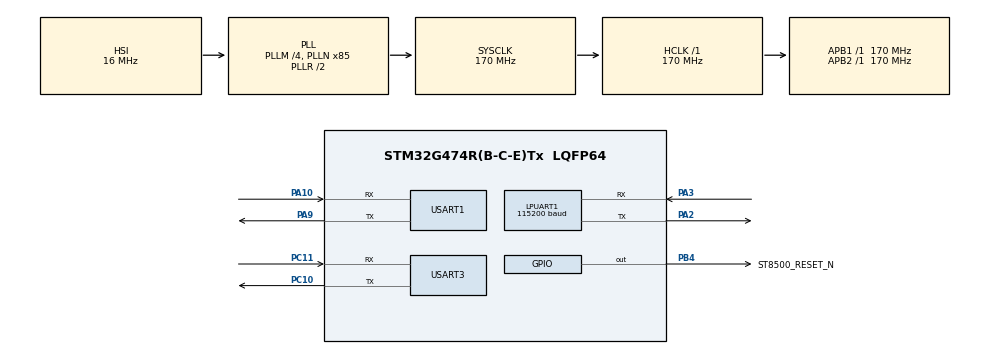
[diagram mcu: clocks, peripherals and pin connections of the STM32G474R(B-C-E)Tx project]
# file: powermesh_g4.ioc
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Dma.LPUART1_RX.4.Direction=DMA_PERIPH_TO_MEMORY
Dma.LPUART1_RX.4.EventEnable=DISABLE
Dma.LPUART1_RX.4.Instance=DMA1_Channel5
Dma.LPUART1_RX.4.MemDataAlignment=DMA_MDATAALIGN_BYTE
Dma.LPUART1_RX.4.MemInc=DMA_MINC_ENABLE
Dma.LPUART1_RX.4.Mode=DMA_CIRCULAR
Dma.LPUART1_RX.4.PeriphDataAlignment=DMA_PDATAALIGN_BYTE
Dma.LPUART1_RX.4.PeriphInc=DMA_PINC_DISABLE
Dma.LPUART1_RX.4.Polarity=HAL_DMAMUX_REQ_GEN_RISING
Dma.LPUART1_RX.4.Priority=DMA_PRIORITY_HIGH
Dma.LPUART1_RX.4.RequestNumber=1
Dma.LPUART1_RX.4.SignalID=NONE
Dma.LPUART1_RX.4.SyncEnable=DISABLE
Dma.LPUART1_RX.4.SyncPolarity=HAL_DMAMUX_SYNC_NO_EVENT
Dma.LPUART1_RX.4.SyncRequestNumber=1
Dma.LPUART1_RX.4.SyncSignalID=NONE
Dma.LPUART1_TX.5.Direction=DMA_MEMORY_TO_PERIPH
Dma.LPUART1_TX.5.EventEnable=DISABLE
Dma.LPUART1_TX.5.Instance=DMA1_Channel6
Dma.LPUART1_TX.5.MemDataAlignment=DMA_MDATAALIGN_BYTE
Dma.LPUART1_TX.5.MemInc=DMA_MINC_ENABLE
Dma.LPUART1_TX.5.Mode=DMA_NORMAL
Dma.LPUART1_TX.5.PeriphDataAlignment=DMA_PDATAALIGN_BYTE
Dma.LPUART1_TX.5.PeriphInc=DMA_PINC_DISABLE
Dma.LPUART1_TX.5.Polarity=HAL_DMAMUX_REQ_GEN_RISING
Dma.LPUART1_TX.5.Priority=DMA_PRIORITY_MEDIUM
Dma.LPUART1_TX.5.RequestNumber=1
Dma.LPUART1_TX.5.SignalID=NONE
Dma.LPUART1_TX.5.SyncEnable=DISABLE
Dma.LPUART1_TX.5.SyncPolarity=HAL_DMAMUX_SYNC_NO_EVENT
Dma.LPUART1_TX.5.SyncRequestNumber=1
Dma.LPUART1_TX.5.SyncSignalID=NONE
Dma.Request0=USART1_RX
Dma.Request1=USART1_TX
Dma.Request2=USART3_RX
Dma.Request3=USART3_TX
Dma.Request4=LPUART1_RX
Dma.Request5=LPUART1_TX
Dma.USART1_RX.0.Direction=DMA_PERIPH_TO_MEMORY
Dma.USART1_RX.0.EventEnable=DISABLE
Dma.USART1_RX.0.Instance=DMA1_Channel1
Dma.USART1_RX.0.MemDataAlignment=DMA_MDATAALIGN_BYTE
Dma.USART1_RX.0.MemInc=DMA_MINC_ENABLE
Dma.USART1_RX.0.Mode=DMA_CIRCULAR
Dma.USART1_RX.0.PeriphDataAlignment=DMA_PDATAALIGN_BYTE
Dma.USART1_RX.0.PeriphInc=DMA_PINC_DISABLE
Dma.USART1_RX.0.Polarity=HAL_DMAMUX_REQ_GEN_RISING
Dma.USART1_RX.0.Priority=DMA_PRIORITY_HIGH
Dma.USART1_RX.0.RequestNumber=1
Dma.USART1_RX.0.SignalID=NONE
Dma.USART1_RX.0.SyncEnable=DISABLE
Dma.USART1_RX.0.SyncPolarity=HAL_DMAMUX_SYNC_NO_EVENT
Dma.USART1_RX.0.SyncRequestNumber=1
Dma.USART1_RX.0.SyncSignalID=NONE
Dma.USART1_TX.1.Direction=DMA_MEMORY_TO_PERIPH
Dma.USART1_TX.1.EventEnable=DISABLE
Dma.USART1_TX.1.Instance=DMA1_Channel2
Dma.USART1_TX.1.MemDataAlignment=DMA_MDATAALIGN_BYTE
Dma.USART1_TX.1.MemInc=DMA_MINC_ENABLE
Dma.USART1_TX.1.Mode=DMA_NORMAL
Dma.USART1_TX.1.PeriphDataAlignment=DMA_PDATAALIGN_BYTE
Dma.USART1_TX.1.PeriphInc=DMA_PINC_DISABLE
Dma.USART1_TX.1.Polarity=HAL_DMAMUX_REQ_GEN_RISING
Dma.USART1_TX.1.Priority=DMA_PRIORITY_MEDIUM
Dma.USART1_TX.1.RequestNumber=1
Dma.USART1_TX.1.SignalID=NONE
Dma.USART1_TX.1.SyncEnable=DISABLE
Dma.USART1_TX.1.SyncPolarity=HAL_DMAMUX_SYNC_NO_EVENT
Dma.USART1_TX.1.SyncRequestNumber=1
Dma.USART1_TX.1.SyncSignalID=NONE
Dma.USART3_RX.2.Direction=DMA_PERIPH_TO_MEMORY
Dma.USART3_RX.2.EventEnable=DISABLE
Dma.USART3_RX.2.Instance=DMA1_Channel3
Dma.USART3_RX.2.MemDataAlignment=DMA_MDATAALIGN_BYTE
Dma.USART3_RX.2.MemInc=DMA_MINC_ENABLE
Dma.USART3_RX.2.Mode=DMA_CIRCULAR
Dma.USART3_RX.2.PeriphDataAlignment=DMA_PDATAALIGN_BYTE
Dma.USART3_RX.2.PeriphInc=DMA_PINC_DISABLE
Dma.USART3_RX.2.Polarity=HAL_DMAMUX_REQ_GEN_RISING
Dma.USART3_RX.2.Priority=DMA_PRIORITY_HIGH
Dma.USART3_RX.2.RequestNumber=1
Dma.USART3_RX.2.SignalID=NONE
Dma.USART3_RX.2.SyncEnable=DISABLE
Dma.USART3_RX.2.SyncPolarity=HAL_DMAMUX_SYNC_NO_EVENT
Dma.USART3_RX.2.SyncRequestNumber=1
Dma.USART3_RX.2.SyncSignalID=NONE
Dma.USART3_TX.3.Direction=DMA_MEMORY_TO_PERIPH
Dma.USART3_TX.3.EventEnable=DISABLE
Dma.USART3_TX.3.Instance=DMA1_Channel4
Dma.USART3_TX.3.MemDataAlignment=DMA_MDATAALIGN_BYTE
Dma.USART3_TX.3.MemInc=DMA_MINC_ENABLE
Dma.USART3_TX.3.Mode=DMA_NORMAL
Dma.USART3_TX.3.PeriphDataAlignment=DMA_PDATAALIGN_BYTE
Dma.USART3_TX.3.PeriphInc=DMA_PINC_DISABLE
Dma.USART3_TX.3.Polarity=HAL_DMAMUX_REQ_GEN_RISING
Dma.USART3_TX.3.Priority=DMA_PRIORITY_MEDIUM
Dma.USART3_TX.3.RequestNumber=1
Dma.USART3_TX.3.SignalID=NONE
Dma.USART3_TX.3.SyncEnable=DISABLE
Dma.USART3_TX.3.SyncPolarity=HAL_DMAMUX_SYNC_NO_EVENT
Dma.USART3_TX.3.SyncRequestNumber=1
Dma.USART3_TX.3.SyncSignalID=NONE
LPUART1.BaudRate=115200
Mcu.Family=STM32G4
Mcu.Name=STM32G474R(B-C-E)Tx
Mcu.Package=LQFP64
NUCLEO-G474RE.BUTTON=1
NUCLEO-G474RE.LD2=true
NUCLEO-G474RE.VCP=false
NVIC.DMA1_Channel1_IRQn=true\:5\:0\:true\:false\:true\:false\:true\:true
NVIC.DMA1_Channel2_IRQn=true\:5\:0\:true\:false\:true\:false\:true\:true
NVIC.DMA1_Channel3_IRQn=true\:5\:0\:true\:false\:true\:false\:true\:true
NVIC.DMA1_Channel4_IRQn=true\:5\:0\:true\:false\:true\:false\:true\:true
NVIC.DMA1_Channel5_IRQn=true\:5\:0\:true\:false\:true\:false\:true\:true
NVIC.DMA1_Channel6_IRQn=true\:5\:0\:true\:false\:true\:false\:true\:true
NVIC.EXTI15_10_IRQn=true\:0\:0\:false\:false\:true\:false\:true\:true
NVIC.LPUART1_IRQn=true\:5\:0\:true\:false\:true\:true\:true\:true
NVIC.PriorityGroup=NVIC_PRIORITYGROUP_4
NVIC.USART1_IRQn=true\:5\:0\:true\:false\:true\:true\:true\:true
NVIC.USART3_IRQn=true\:5\:0\:true\:false\:true\:true\:true\:true
PA10.Mode=Asynchronous
PA10.Signal=USART1_RX
PA13.GPIO_Label=T_SWDIO
PA13.Mode=Serial_Wire
PA13.Signal=SYS_JTMS-SWDIO
PA14.GPIO_Label=T_SWCLK
PA14.Mode=Serial_Wire
PA14.Signal=SYS_JTCK-SWCLK
PA2.Mode=Asynchronous
PA2.Signal=LPUART1_TX
PA3.Mode=Asynchronous
PA3.Signal=LPUART1_RX
PA9.Mode=Asynchronous
PA9.Signal=USART1_TX
PB3.GPIO_Label=T_SWO
PB3.Signal=SYS_JTDO-SWO
PB4.GPIO_Label=ST8500_RESET_N
PB4.GPIO_ModeDefaultOutputPP=GPIO_MODE_OUTPUT_OD
PB4.GPIO_PuPd=GPIO_NOPULL
PB4.PinState=GPIO_PIN_SET
PB4.Signal=GPIO_Output
PC10.Mode=Asynchronous
PC10.Signal=USART3_TX
PC11.Mode=Asynchronous
PC11.Signal=USART3_RX
PC14-OSC32_IN.GPIO_Label=RCC_OSC32_IN
PC14-OSC32_IN.Signal=RCC_OSC32_IN
PC15-OSC32_OUT.GPIO_Label=RCC_OSC32_OUT
PC15-OSC32_OUT.Signal=RCC_OSC32_OUT
PF0-OSC_IN.GPIO_Label=RCC_OSC_IN
PF0-OSC_IN.Signal=RCC_OSC_IN
PF1-OSC_OUT.GPIO_Label=RCC_OSC_OUT
PF1-OSC_OUT.Signal=RCC_OSC_OUT
ProjectManager.HeapSize=0x200
ProjectManager.StackSize=0x400
ProjectManager.TargetToolchain=CMake
RCC.ADC12Freq_Value=170000000
RCC.ADC345Freq_Value=170000000
RCC.AHBFreq_Value=170000000
RCC.APB1Freq_Value=170000000
RCC.APB1TimFreq_Value=170000000
RCC.APB2Freq_Value=170000000
RCC.APB2TimFreq_Value=170000000
RCC.CortexFreq_Value=170000000
RCC.EXTERNAL_CLOCK_VALUE=12288000
RCC.HCLKFreq_Value=170000000
RCC.HSE_VALUE=24000000
RCC.HSI48_VALUE=48000000
RCC.HSI_VALUE=16000000
RCC.LSE_VALUE=32768
RCC.PLLM=RCC_PLLM_DIV4
RCC.PLLN=85
RCC.RTCClockSelection=RCC_RTCCLKSOURCE_LSE
RCC.SYSCLKFreq_VALUE=170000000
RCC.SYSCLKSource=RCC_SYSCLKSOURCE_PLLCLK
RCC.USBFreq_Value=170000000
RCC.VCOOutputFreq_Value=340000000
USART1.VirtualMode-Asynchronous=VM_ASYNC
USART3.VirtualMode-Asynchronous=VM_ASYNC
VP_NUCLEO-G474RE_VS_BSP_COMMON.Mode=COMMON
VP_SYS_VS_DBSignals.Mode=DisableDeadBatterySignals
board=NUCLEO-G474RE

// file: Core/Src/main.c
/* USER CODE BEGIN Header */
/**
  ******************************************************************************
  * @file           : main.c
  * @brief          : Main program body
  ******************************************************************************
  * @attention
  *
  * Copyright (c) 2026 STMicroelectronics.
  * All rights reserved.
  *
  * This software is licensed under terms that can be found in the LICENSE file
  * in the root directory of this software component.
  * If no LICENSE file comes with this software, it is provided AS-IS.
  *
  ******************************************************************************
  */
/* USER CODE END Header */
#include "main.h"

/* USER CODE BEGIN Includes */
#include "powermesh_board.h"
#include "uart_transport.h"
#include "packet_router.h"
#if defined(POWERMESH_TRANSPORT_ST8500)
#include "st8500_boot.h"
#endif
/* USER CODE END Includes */

UART_HandleTypeDef hlpuart1;
UART_HandleTypeDef huart1;
UART_HandleTypeDef huart3;
DMA_HandleTypeDef hdma_lpuart1_rx;
DMA_HandleTypeDef hdma_lpuart1_tx;
DMA_HandleTypeDef hdma_usart1_rx;
DMA_HandleTypeDef hdma_usart1_tx;
DMA_HandleTypeDef hdma_usart3_rx;
DMA_HandleTypeDef hdma_usart3_tx;

/* USER CODE BEGIN PV */
#if defined(POWERMESH_TRANSPORT_WIRED)
static uart_transport_t gateway_transport;
static uart_transport_t remote_transport;
static packet_router_t router;

static packet_port_t gateway_port = PACKET_PORT_GATEWAY;
static packet_port_t remote_port = PACKET_PORT_REMOTE;
#endif

static uint32_t last_blink_ms = 0U;
/* USER CODE END PV */

void SystemClock_Config(void);
static void MX_GPIO_Init(void);
static void MX_DMA_Init(void);
static void MX_USART1_UART_Init(void);
static void MX_USART3_UART_Init(void);
static void MX_LPUART1_UART_Init(void);

/* USER CODE BEGIN 0 */

#if defined(POWERMESH_TRANSPORT_WIRED)
// Adapt the shared router interface to the G4 HAL UART transport.
static bool send_uart_frame(
    void *context,
    uint8_t type,
    uint16_t sequence,
    const uint8_t *payload,
    uint16_t length
)
{
    uart_transport_t *transport = (uart_transport_t *)context;

    return uart_transport_send(
        transport,
        type,
        sequence,
        payload,
        length
    ) == HAL_OK;
}

// Receive complete, CRC-validated frames from either UART.
static void on_uart_frame(const uart_frame_t *frame, void *context)
{
    if (frame == NULL || context == NULL)
    {
        return;
    }

    packet_port_t source = *(packet_port_t *)context;

    (void)packet_router_receive(
        &router,
        source,
        frame
    );
}
#endif
/* USER CODE END 0 */

int main(void)
{

  /* MCU Configuration--------------------------------------------------------*/

  /* Reset of all peripherals, Initializes the Flash interface and the Systick. */
  HAL_Init();

  /* Configure the system clock */
  SystemClock_Config();

  /* Initialize all configured peripherals */
  MX_GPIO_Init();
  MX_DMA_Init();
  MX_USART1_UART_Init();
  MX_USART3_UART_Init();
  MX_LPUART1_UART_Init();
  /* USER CODE BEGIN 2 */

#if defined(POWERMESH_TRANSPORT_WIRED)
  if (POWERMESH_GATEWAY_UART->hdmarx == NULL ||
      POWERMESH_GATEWAY_UART->hdmatx == NULL ||
      POWERMESH_REMOTE_UART->hdmarx == NULL ||
      POWERMESH_REMOTE_UART->hdmatx == NULL)
  {
      Error_Handler();
  }

  if (!packet_router_init(
          &router,
          send_uart_frame,
          &gateway_transport,
          send_uart_frame,
          &remote_transport))
  {
      Error_Handler();
  }

  if (uart_transport_start(
          &gateway_transport,
          POWERMESH_GATEWAY_UART,
          on_uart_frame,
          &gateway_port) != HAL_OK)
  {
      Error_Handler();
  }

  if (uart_transport_start(
          &remote_transport,
          POWERMESH_REMOTE_UART,
          on_uart_frame,
          &remote_port) != HAL_OK)
  {
      Error_Handler();
  }

#if defined(POWERMESH_ROLE_ENDPOINT)
  static uint8_t boot_message[] = "PowerMesh G4 ready\r\n";

  (void)HAL_UART_Transmit(
      POWERMESH_DEBUG_UART,
      boot_message,
      sizeof(boot_message) - 1U,
      100U
  );
#endif
#endif

  /* USER CODE END 2 */

  /* Initialize led */
  BSP_LED_Init(LED_GREEN);

  /* Initialize USER push-button, will be used to trigger an interrupt each time it's pressed.*/
  BSP_PB_Init(BUTTON_USER, BUTTON_MODE_EXTI);

  /* Infinite loop */
  /* USER CODE BEGIN WHILE */

#if defined(POWERMESH_TRANSPORT_ST8500)
  if (!st8500_boot_load(POWERMESH_LINK_UART))
  {
      while (1)
      {
          (void)BSP_LED_Toggle(LED_GREEN);
          HAL_Delay(150U);
      }
  }
#endif

  while (1)
  {

    /* USER CODE END WHILE */

    /* USER CODE BEGIN 3 */

#if defined(POWERMESH_TRANSPORT_WIRED)
    uart_transport_poll(&gateway_transport);
    uart_transport_poll(&remote_transport);

    packet_router_poll(&router);
#endif

    // Toggle the status LED every 500 ms.
    uint32_t now = HAL_GetTick();

    if ((uint32_t)(now - last_blink_ms) >= 500U)
    {
        last_blink_ms = now;
        (void)BSP_LED_Toggle(LED_GREEN);
    }
  }
  /* USER CODE END 3 */
}

void SystemClock_Config(void)
{
  RCC_OscInitTypeDef RCC_OscInitStruct = {0};
  RCC_ClkInitTypeDef RCC_ClkInitStruct = {0};

  /** Configure the main internal regulator output voltage
  */
  HAL_PWREx_ControlVoltageScaling(PWR_REGULATOR_VOLTAGE_SCALE1_BOOST);

  /** Initializes the RCC Oscillators according to the specified parameters
  * in the RCC_OscInitTypeDef structure.
  */
  RCC_OscInitStruct.OscillatorType = RCC_OSCILLATORTYPE_HSI;
  RCC_OscInitStruct.HSIState = RCC_HSI_ON;
  RCC_OscInitStruct.HSICalibrationValue = RCC_HSICALIBRATION_DEFAULT;
  RCC_OscInitStruct.PLL.PLLState = RCC_PLL_ON;
  RCC_OscInitStruct.PLL.PLLSource = RCC_PLLSOURCE_HSI;
  RCC_OscInitStruct.PLL.PLLM = RCC_PLLM_DIV4;
  RCC_OscInitStruct.PLL.PLLN = 85;
  RCC_OscInitStruct.PLL.PLLP = RCC_PLLP_DIV2;
  RCC_OscInitStruct.PLL.PLLQ = RCC_PLLQ_DIV2;
  RCC_OscInitStruct.PLL.PLLR = RCC_PLLR_DIV2;
  if (HAL_RCC_OscConfig(&RCC_OscInitStruct) != HAL_OK)
  {
    Error_Handler();
  }

  /** Initializes the CPU, AHB and APB buses clocks
  */
  RCC_ClkInitStruct.ClockType = RCC_CLOCKTYPE_HCLK|RCC_CLOCKTYPE_SYSCLK
                              |RCC_CLOCKTYPE_PCLK1|RCC_CLOCKTYPE_PCLK2;
  RCC_ClkInitStruct.SYSCLKSource = RCC_SYSCLKSOURCE_PLLCLK;
  RCC_ClkInitStruct.AHBCLKDivider = RCC_SYSCLK_DIV1;
  RCC_ClkInitStruct.APB1CLKDivider = RCC_HCLK_DIV1;
  RCC_ClkInitStruct.APB2CLKDivider = RCC_HCLK_DIV1;

  if (HAL_RCC_ClockConfig(&RCC_ClkInitStruct, FLASH_LATENCY_4) != HAL_OK)
  {
    Error_Handler();
  }
}

static void MX_LPUART1_UART_Init(void)
{

  hlpuart1.Instance = LPUART1;
  hlpuart1.Init.BaudRate = 115200;
  hlpuart1.Init.WordLength = UART_WORDLENGTH_8B;
  hlpuart1.Init.StopBits = UART_STOPBITS_1;
  hlpuart1.Init.Parity = UART_PARITY_NONE;
  hlpuart1.Init.Mode = UART_MODE_TX_RX;
  hlpuart1.Init.HwFlowCtl = UART_HWCONTROL_NONE;
  hlpuart1.Init.OneBitSampling = UART_ONE_BIT_SAMPLE_DISABLE;
  hlpuart1.Init.ClockPrescaler = UART_PRESCALER_DIV1;
  hlpuart1.AdvancedInit.AdvFeatureInit = UART_ADVFEATURE_NO_INIT;
  if (HAL_UART_Init(&hlpuart1) != HAL_OK)
  {
    Error_Handler();
  }
  if (HAL_UARTEx_SetTxFifoThreshold(&hlpuart1, UART_TXFIFO_THRESHOLD_1_8) != HAL_OK)
  {
    Error_Handler();
  }
  if (HAL_UARTEx_SetRxFifoThreshold(&hlpuart1, UART_RXFIFO_THRESHOLD_1_8) != HAL_OK)
  {
    Error_Handler();
  }
  if (HAL_UARTEx_DisableFifoMode(&hlpuart1) != HAL_OK)
  {
    Error_Handler();
  }

}

static void MX_USART1_UART_Init(void)
{

  huart1.Instance = USART1;
  huart1.Init.BaudRate = 115200;
  huart1.Init.WordLength = UART_WORDLENGTH_8B;
  huart1.Init.StopBits = UART_STOPBITS_1;
  huart1.Init.Parity = UART_PARITY_NONE;
  huart1.Init.Mode = UART_MODE_TX_RX;
  huart1.Init.HwFlowCtl = UART_HWCONTROL_NONE;
  huart1.Init.OverSampling = UART_OVERSAMPLING_16;
  huart1.Init.OneBitSampling = UART_ONE_BIT_SAMPLE_DISABLE;
  huart1.Init.ClockPrescaler = UART_PRESCALER_DIV1;
  huart1.AdvancedInit.AdvFeatureInit = UART_ADVFEATURE_NO_INIT;
  if (HAL_UART_Init(&huart1) != HAL_OK)
  {
    Error_Handler();
  }
  if (HAL_UARTEx_SetTxFifoThreshold(&huart1, UART_TXFIFO_THRESHOLD_1_8) != HAL_OK)
  {
    Error_Handler();
  }
  if (HAL_UARTEx_SetRxFifoThreshold(&huart1, UART_RXFIFO_THRESHOLD_1_8) != HAL_OK)
  {
    Error_Handler();
  }
  if (HAL_UARTEx_DisableFifoMode(&huart1) != HAL_OK)
  {
    Error_Handler();
  }

}

static void MX_USART3_UART_Init(void)
{

  huart3.Instance = USART3;
  huart3.Init.BaudRate = 115200;
  huart3.Init.WordLength = UART_WORDLENGTH_8B;
  huart3.Init.StopBits = UART_STOPBITS_1;
  huart3.Init.Parity = UART_PARITY_NONE;
  huart3.Init.Mode = UART_MODE_TX_RX;
  huart3.Init.HwFlowCtl = UART_HWCONTROL_NONE;
  huart3.Init.OverSampling = UART_OVERSAMPLING_16;
  huart3.Init.OneBitSampling = UART_ONE_BIT_SAMPLE_DISABLE;
  huart3.Init.ClockPrescaler = UART_PRESCALER_DIV1;
  huart3.AdvancedInit.AdvFeatureInit = UART_ADVFEATURE_NO_INIT;
  if (HAL_UART_Init(&huart3) != HAL_OK)
  {
    Error_Handler();
  }
  if (HAL_UARTEx_SetTxFifoThreshold(&huart3, UART_TXFIFO_THRESHOLD_1_8) != HAL_OK)
  {
    Error_Handler();
  }
  if (HAL_UARTEx_SetRxFifoThreshold(&huart3, UART_RXFIFO_THRESHOLD_1_8) != HAL_OK)
  {
    Error_Handler();
  }
  if (HAL_UARTEx_DisableFifoMode(&huart3) != HAL_OK)
  {
    Error_Handler();
  }

}

static void MX_DMA_Init(void)
{

  /* DMA controller clock enable */
  __HAL_RCC_DMAMUX1_CLK_ENABLE();
  __HAL_RCC_DMA1_CLK_ENABLE();

  /* DMA interrupt init */
  /* DMA1_Channel1_IRQn interrupt configuration */
  HAL_NVIC_SetPriority(DMA1_Channel1_IRQn, 5, 0);
  HAL_NVIC_EnableIRQ(DMA1_Channel1_IRQn);
  /* DMA1_Channel2_IRQn interrupt configuration */
  HAL_NVIC_SetPriority(DMA1_Channel2_IRQn, 5, 0);
  HAL_NVIC_EnableIRQ(DMA1_Channel2_IRQn);
  /* DMA1_Channel3_IRQn interrupt configuration */
  HAL_NVIC_SetPriority(DMA1_Channel3_IRQn, 5, 0);
  HAL_NVIC_EnableIRQ(DMA1_Channel3_IRQn);
  /* DMA1_Channel4_IRQn interrupt configuration */
  HAL_NVIC_SetPriority(DMA1_Channel4_IRQn, 5, 0);
  HAL_NVIC_EnableIRQ(DMA1_Channel4_IRQn);
  /* DMA1_Channel5_IRQn interrupt configuration */
  HAL_NVIC_SetPriority(DMA1_Channel5_IRQn, 5, 0);
  HAL_NVIC_EnableIRQ(DMA1_Channel5_IRQn);
  /* DMA1_Channel6_IRQn interrupt configuration */
  HAL_NVIC_SetPriority(DMA1_Channel6_IRQn, 5, 0);
  HAL_NVIC_EnableIRQ(DMA1_Channel6_IRQn);

}

static void MX_GPIO_Init(void)
{
  GPIO_InitTypeDef GPIO_InitStruct = {0};

  /* GPIO Ports Clock Enable */
  __HAL_RCC_GPIOC_CLK_ENABLE();
  __HAL_RCC_GPIOF_CLK_ENABLE();
  __HAL_RCC_GPIOA_CLK_ENABLE();
  __HAL_RCC_GPIOB_CLK_ENABLE();

  /*Configure GPIO pin Output Level */
  HAL_GPIO_WritePin(ST8500_RESET_N_GPIO_Port, ST8500_RESET_N_Pin, GPIO_PIN_SET);

  /*Configure GPIO pin : ST8500_RESET_N_Pin */
  GPIO_InitStruct.Pin = ST8500_RESET_N_Pin;
  GPIO_InitStruct.Mode = GPIO_MODE_OUTPUT_OD;
  GPIO_InitStruct.Pull = GPIO_NOPULL;
  GPIO_InitStruct.Speed = GPIO_SPEED_FREQ_LOW;
  HAL_GPIO_Init(ST8500_RESET_N_GPIO_Port, &GPIO_InitStruct);

}

void Error_Handler(void)
{
  __disable_irq();
  while (1)
  {
  }
}
